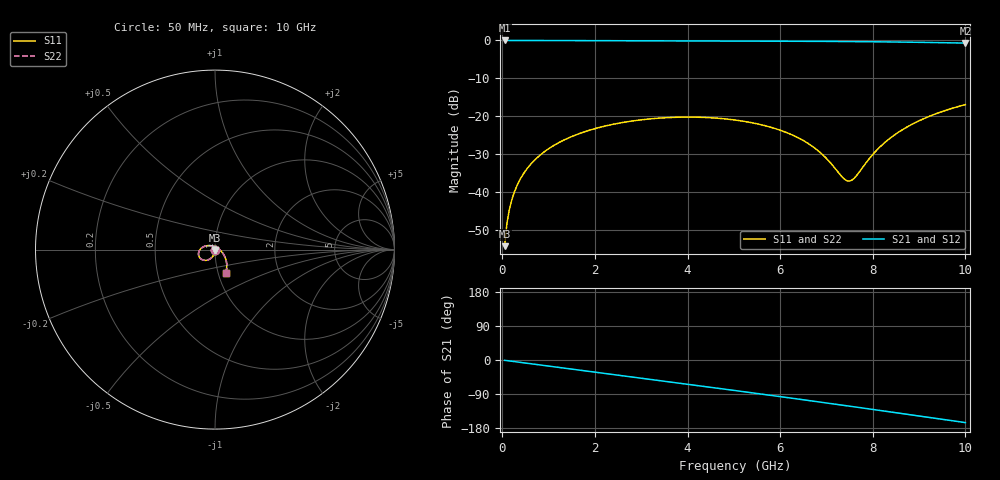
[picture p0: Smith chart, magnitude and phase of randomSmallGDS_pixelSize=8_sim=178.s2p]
! freq	dB(S11)	phase(S11)	dB(S12)	phase(S12)
!  dB(S21)	phase(S21)	dB(S22)	phase(S22)
!S-par simulation data
#  GHz  S  DB  R 50
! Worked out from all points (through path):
!   200 points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, 50 MHz to 10 GHz, reference 50 ohm
!   highest |S21| = 0.00 dB at 50 MHz (marker M1); lowest = -0.7 dB at 10 GHz (marker M2)
!   group delay of S21, straight-line fit = 45.7 ps
!   lowest |S11| = -54.4 dB at 50 MHz (marker M3), VSWR 1.00, Z = 50 - j0.191 ohm
!   |S11| at or under -10 dB: start of sweep to end of sweep
!   |S22| runs from -54.4 to -17.0 dB; largest |S21 - S12| = 0
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0.05  -54.40 -90.5  -0.00 -0.8  -0.00 -0.8  -54.40 -90.5
0.1  -48.38 -91.7  -0.00 -1.6  -0.00 -1.6  -48.38 -91.7
0.15  -44.87 -92.7  -0.01 -2.4  -0.01 -2.4  -44.87 -92.7
0.2  -42.38 -93.6  -0.01 -3.2  -0.01 -3.2  -42.38 -93.6
0.35  -37.55 -96.3  -0.01 -5.6  -0.01 -5.6  -37.55 -96.3
0.5  -34.49 -98.8  -0.01 -8.0  -0.01 -8.0  -34.49 -98.8
0.7  -31.62 -102.2  -0.02 -11.2  -0.02 -11.2  -31.62 -102.2
1  -28.64 -107.1  -0.02 -16.0  -0.02 -16.0  -28.64 -107.1
1.75  -24.26 -119.4  -0.05 -28.0  -0.05 -28.0  -24.26 -119.4
2.5  -21.91 -131.7  -0.07 -40.0  -0.07 -40.0  -21.91 -131.7
3.4  -20.53 -146.5  -0.10 -54.4  -0.10 -54.4  -20.53 -146.5
5.05  -21.08 -175.2  -0.15 -81.0  -0.15 -81.0  -21.08 -175.2
6  -23.73 165.6  -0.19 -96.6  -0.19 -96.6  -23.73 165.5
6.7  -28.03 145.6  -0.23 -108.3  -0.23 -108.3  -28.02 145.4
7  -31.20 130.8  -0.25 -113.3  -0.25 -113.3  -31.18 130.4
7.35  -36.24 91.3  -0.27 -119.3  -0.27 -119.3  -36.15 90.9
7.5  -37.18 59.0  -0.29 -121.9  -0.29 -121.9  -37.07 58.9
7.6  -36.43 37.0  -0.30 -123.6  -0.30 -123.6  -36.32 37.2
8  -30.15 -9.8  -0.34 -130.4  -0.34 -130.4  -30.12 -9.5
8.35  -26.08 -26.1  -0.39 -136.5  -0.39 -136.5  -26.06 -25.9
9.05  -20.96 -45.5  -0.50 -148.6  -0.50 -148.6  -20.96 -45.3
10  -16.96 -64.9  -0.69 -165.2  -0.69 -165.2  -16.96 -64.8
